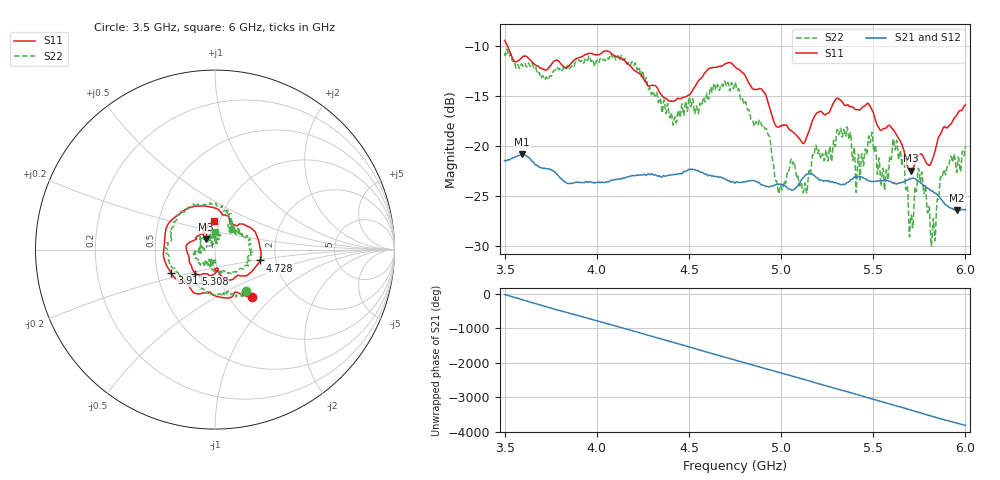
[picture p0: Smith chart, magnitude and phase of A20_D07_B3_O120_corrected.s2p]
! Created with skrf 1.9.0 (http://scikit-rf.org).
# Hz S RI R 50.0
!freq ReS11 ImS11 ReS21 ImS21 ReS12 ImS12 ReS22 ImS22
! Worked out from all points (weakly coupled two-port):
!   1601 points, 3.5 GHz to 6 GHz, reference 50 ohm
!   highest |S21| = -20.88 dB at 3.595 GHz (marker M1); lowest = -26.5 dB at 5.955 GHz (marker M2)
!   lowest |S11| = -22.5 dB at 5.706 GHz (marker M3), VSWR 1.16, Z = 45 + j5.1 ohm
!   |S11| at or under -10 dB: 3.515 GHz to end of sweep
!   |S22| runs from -30.1 to -10.4 dB; largest |S21 - S12| = 0.001
!   S11 on the Smith chart (normalised r, x): 3.5 GHz: 1.27, -0.76; 3.911 GHz: 0.59, -0.17; 4.728 GHz: 1.66, -0.21; 5.308 GHz: 0.78, -0.21; 6 GHz: 0.94, +0.31
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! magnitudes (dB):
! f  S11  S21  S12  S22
! 3.5 GHz  -9.5  -21.5  -21.5  -10.8
! 3.595 GHz  -11.1  -20.9  -20.9  -11.9
! 3.911 GHz  -11.2  -23.7  -23.7  -11.6
! 3.917 GHz  -11.1  -23.7  -23.7  -11.5
! 4.334 GHz  -14.4  -23.0  -23.0  -15.7
! 4.422 GHz  -15.5  -22.9  -22.9  -17.2
! 4.728 GHz  -11.7  -23.6  -23.5  -13.9
! 4.75 GHz  -12.1  -23.7  -23.7  -13.7
! 4.928 GHz  -15.6  -24.1  -24.1  -18.8
! 4.992 GHz  -18.1  -23.9  -23.8  -24.4
! 5.167 GHz  -17.6  -22.8  -22.8  -21.4
! 5.308 GHz  -15.3  -23.8  -23.7  -18.5
! 5.417 GHz  -16.4  -23.1  -23.2  -21.2
! 5.484 GHz  -16.1  -23.6  -23.5  -19.7
! 5.584 GHz  -18.0  -23.5  -23.5  -22.4
! 5.656 GHz  -19.9  -23.7  -23.6  -22.0
! 5.706 GHz  -22.5  -23.3  -23.3  -26.9
! 5.753 GHz  -20.9  -23.7  -23.6  -23.3
! 5.825 GHz  -21.2  -24.6  -24.6  -27.3
! 5.873 GHz  -18.5  -25.5  -25.4  -23.1
! 5.955 GHz  -16.9  -26.5  -26.5  -22.5
! 6 GHz  -15.9  -26.4  -26.4  -20.1
